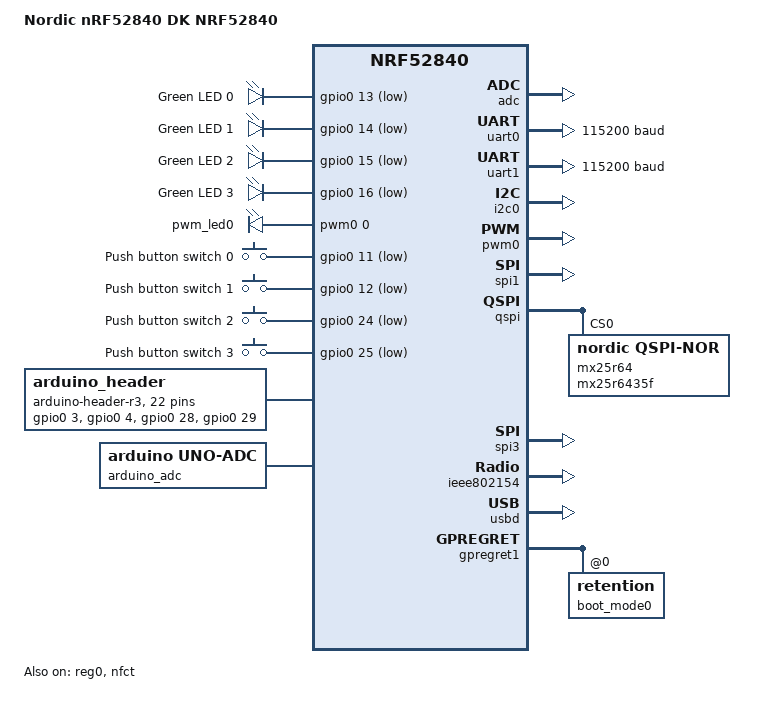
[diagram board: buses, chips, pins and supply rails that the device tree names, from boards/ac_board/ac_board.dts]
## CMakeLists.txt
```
cmake_minimum_required(VERSION 3.20.0)

find_package(Zephyr REQUIRED HINTS $ENV{ZEPHYR_BASE})
project(led_sensor_driver_lab)

target_include_directories(app PRIVATE
    ${CMAKE_CURRENT_SOURCE_DIR}/include
)

target_sources(app PRIVATE
    src/main.cpp
    drivers/sensor/led_sensor/led_sensor.c
)
```

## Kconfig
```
mainmenu "LED Lab"

menuconfig LED_SUBSYSTEM
	bool "LED Subsystem"
	default y
	help
	  Enable LED subsystem.

if LED_SUBSYSTEM

choice LED_BLINK_SLEEP_TIME
	prompt "LED blink sleep time"
	default LED_BLINK_SLEEP_1S

config LED_BLINK_SLEEP_250MS
	bool "250ms"

config LED_BLINK_SLEEP_500MS
	bool "500ms"

config LED_BLINK_SLEEP_1S
	bool "1s (medium)"

config LED_BLINK_SLEEP_2S
	bool "2s"

endchoice

config LED_BLINK_SLEEP_TIME_MS
	int
	default 250 if LED_BLINK_SLEEP_250MS
	default 500 if LED_BLINK_SLEEP_500MS
	default 1000 if LED_BLINK_SLEEP_1S
	default 2000 if LED_BLINK_SLEEP_2S

menuconfig ADVANCED_LED_SETTINGS
	bool "Advanced LED settings"
	default n

if ADVANCED_LED_SETTINGS

config LED_BRIGHTNESS
	int "LED brightness (0-100)"
	range 0 100
	default 100

config LED_FADE_DURATION_MS
	int "LED fade duration (ms)"
	range 0 5000
	default 500

menu "Expert settings"
	visible if ADVANCED_LED_SETTINGS

config LED_DEBUGGING
	bool "Enable LED debugging"
	default n

config CUSTOM_BLINK_PATTERN
	bool "Custom blink pattern"
	default n

endmenu

endif # ADVANCED_LED_SETTINGS

endif # LED_SUBSYSTEM

menu "Application Configuration"

config APP_HEARTBEAT_PERIOD_MS
	int "Heartbeat period in milliseconds"
	default 500
	range 100 2000
	help
	  Blink period for heartbeat LED.

endmenu

menu "Custom drivers"

rsource "drivers/sensor/led_sensor/Kconfig"

endmenu

source "Kconfig.zephyr"
```

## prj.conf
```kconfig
CONFIG_GPIO=y
CONFIG_LOG=y
CONFIG_SENSOR=y
CONFIG_LED_SENSOR=y

CONFIG_LED_SUBSYSTEM=y
CONFIG_LED_BLINK_SLEEP_250MS=y

CONFIG_SHELL=y
CONFIG_SHELL_BACKEND_SERIAL=y
```

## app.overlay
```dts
/ {
	led_sensor0: led_sensor_0 {
		compatible = "our,led-sensor";
		status = "okay";
		gpios = <&gpio0 13 GPIO_ACTIVE_LOW>;
	};
};
```

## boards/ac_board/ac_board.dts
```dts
/dts-v1/;
#include <nordic/nrf52840_qiaa.dtsi>
#include <nordic/nrf52840_partition.dtsi>
#include "nrf52840dk_nrf52840-pinctrl.dtsi"
#include <zephyr/dt-bindings/gpio/arduino-header-r3.h>
#include <zephyr/dt-bindings/input/input-event-codes.h>

/ {
	model = "Nordic nRF52840 DK NRF52840";
	compatible = "ac,ac_board";

	chosen {
		zephyr,console = &uart0;
		zephyr,shell-uart = &uart0;
		zephyr,uart-mcumgr = &uart0;
		zephyr,bt-mon-uart = &uart0;
		zephyr,bt-c2h-uart = &uart0;
		zephyr,ieee802154 = &ieee802154;
		zephyr,boot-mode = &boot_mode0;
	};

	leds {
		compatible = "gpio-leds";

		led0: led_0 {
			gpios = <&gpio0 13 GPIO_ACTIVE_LOW>;
			label = "Green LED 0";
		};

		led1: led_1 {
			gpios = <&gpio0 14 GPIO_ACTIVE_LOW>;
			label = "Green LED 1";
		};

		led2: led_2 {
			gpios = <&gpio0 15 GPIO_ACTIVE_LOW>;
			label = "Green LED 2";
		};

		led3: led_3 {
			gpios = <&gpio0 16 GPIO_ACTIVE_LOW>;
			label = "Green LED 3";
		};
	};

	pwmleds {
		compatible = "pwm-leds";

		pwm_led0: pwm_led_0 {
			pwms = <&pwm0 0 PWM_MSEC(20) PWM_POLARITY_INVERTED>;
		};
	};

	buttons {
		compatible = "gpio-keys";

		button0: button_0 {
			gpios = <&gpio0 11 (GPIO_PULL_UP | GPIO_ACTIVE_LOW)>;
			label = "Push button switch 0";
			zephyr,code = <INPUT_KEY_0>;
		};

		button1: button_1 {
			gpios = <&gpio0 12 (GPIO_PULL_UP | GPIO_ACTIVE_LOW)>;
			label = "Push button switch 1";
			zephyr,code = <INPUT_KEY_1>;
		};

		button2: button_2 {
			gpios = <&gpio0 24 (GPIO_PULL_UP | GPIO_ACTIVE_LOW)>;
			label = "Push button switch 2";
			zephyr,code = <INPUT_KEY_2>;
		};

		button3: button_3 {
			gpios = <&gpio0 25 (GPIO_PULL_UP | GPIO_ACTIVE_LOW)>;
			label = "Push button switch 3";
			zephyr,code = <INPUT_KEY_3>;
		};
	};

	arduino_header: connector {
		compatible = "arduino-header-r3";
		#gpio-cells = <2>;
		gpio-map-mask = <0xffffffff 0xffffffc0>;
		gpio-map-pass-thru = <0 0x3f>;
		gpio-map = <ARDUINO_HEADER_R3_A0 0 &gpio0 3 0>,
			   <ARDUINO_HEADER_R3_A1 0 &gpio0 4 0>,
			   <ARDUINO_HEADER_R3_A2 0 &gpio0 28 0>,
			   <ARDUINO_HEADER_R3_A3 0 &gpio0 29 0>,
			   <ARDUINO_HEADER_R3_A4 0 &gpio0 30 0>,
			   <ARDUINO_HEADER_R3_A5 0 &gpio0 31 0>,
			   <ARDUINO_HEADER_R3_D0 0 &gpio1 1 0>,
			   <ARDUINO_HEADER_R3_D1 0 &gpio1 2 0>,
			   <ARDUINO_HEADER_R3_D2 0 &gpio1 3 0>,
			   <ARDUINO_HEADER_R3_D3 0 &gpio1 4 0>,
			   <ARDUINO_HEADER_R3_D4 0 &gpio1 5 0>,
			   <ARDUINO_HEADER_R3_D5 0 &gpio1 6 0>,
			   <ARDUINO_HEADER_R3_D6 0 &gpio1 7 0>,
			   <ARDUINO_HEADER_R3_D7 0 &gpio1 8 0>,
			   <ARDUINO_HEADER_R3_D8 0 &gpio1 10 0>,
			   <ARDUINO_HEADER_R3_D9 0 &gpio1 11 0>,
			   <ARDUINO_HEADER_R3_D10 0 &gpio1 12 0>,
			   <ARDUINO_HEADER_R3_D11 0 &gpio1 13 0>,
			   <ARDUINO_HEADER_R3_D12 0 &gpio1 14 0>,
			   <ARDUINO_HEADER_R3_D13 0 &gpio1 15 0>,
			   <ARDUINO_HEADER_R3_D14 0 &gpio0 26 0>,
			   <ARDUINO_HEADER_R3_D15 0 &gpio0 27 0>;
	};

	arduino_adc: analog-connector {
		compatible = "arduino,uno-adc";
		#io-channel-cells = <1>;
		io-channel-map = <0 &adc 1>,	/* A0 = P0.3 = AIN1 */
				 <1 &adc 2>,	/* A1 = P0.4 = AIN2 */
				 <2 &adc 4>,	/* A2 = P0.28 = AIN4 */
				 <3 &adc 5>,	/* A3 = P0.29 = AIN5 */
				 <4 &adc 6>,	/* A4 = P0.30 = AIN6 */
				 <5 &adc 7>;	/* A5 = P0.31 = AIN7 */
	};

	/* These aliases are provided for compatibility with samples */
	aliases {
		led0 = &led0;
		led1 = &led1;
		led2 = &led2;
		led3 = &led3;
		pwm-led0 = &pwm_led0;
		sw0 = &button0;
		sw1 = &button1;
		sw2 = &button2;
		sw3 = &button3;
		mcuboot-button0 = &button0;
		mcuboot-led0 = &led0;
		watchdog0 = &wdt0;
	};
};

&reg0 {
	status = "okay";
};

&reg1 {
	regulator-initial-mode = <NRF5X_REG_MODE_DCDC>;
};

&adc {
	status = "okay";
};

&uicr {
	gpio-as-nreset;
};

&gpiote {
	status = "okay";
};

&nfct {
	status = "okay";
};

&gpio0 {
	status = "okay";
	gpio-reserved-ranges = <0 2>, <6 1>, <8 3>, <17 7>;
	gpio-line-names = "XL1", "XL2", "AREF", "A0", "A1", "RTS", "TXD",
			  "CTS", "RXD", "NFC1", "NFC2", "BUTTON1", "BUTTON2", "LED1",
			  "LED2", "LED3", "LED4", "QSPI CS", "RESET", "QSPI CLK",
			  "QSPI DIO0", "QSPI DIO1", "QSPI DIO2", "QSPI DIO3", "BUTTON3",
			  "BUTTON4", "SDA", "SCL", "A2", "A3", "A4", "A5";
};

&gpio1 {
	status = "okay";
	gpio-line-names = "", "D0", "D1", "D2", "D3", "D4", "D5", "D6",
			  "D7", "", "D8", "D9", "D10", "D11", "D12", "D13";
};

&uart0 {
	compatible = "nordic,nrf-uarte";
	status = "okay";
	current-speed = <115200>;
	pinctrl-0 = <&uart0_default>;
	pinctrl-1 = <&uart0_sleep>;
	pinctrl-names = "default", "sleep";
};

arduino_serial: &uart1 {
	current-speed = <115200>;
	pinctrl-0 = <&uart1_default>;
	pinctrl-1 = <&uart1_sleep>;
	pinctrl-names = "default", "sleep";
};

arduino_i2c: &i2c0 {
	compatible = "nordic,nrf-twi";
	status = "okay";
	pinctrl-0 = <&i2c0_default>;
	pinctrl-1 = <&i2c0_sleep>;
	pinctrl-names = "default", "sleep";
};

&i2c1 {
	compatible = "nordic,nrf-twi";
	/* Cannot be used together with spi1. */
	/* status = "okay"; */
	pinctrl-0 = <&i2c1_default>;
	pinctrl-1 = <&i2c1_sleep>;
	pinctrl-names = "default", "sleep";
};

&pwm0 {
	status = "okay";
	pinctrl-0 = <&pwm0_default>;
	pinctrl-1 = <&pwm0_sleep>;
	pinctrl-names = "default", "sleep";
};

&spi0 {
	compatible = "nordic,nrf-spi";
	/* Cannot be used together with i2c0. */
	/* status = "okay"; */
	pinctrl-0 = <&spi0_default>;
	pinctrl-1 = <&spi0_sleep>;
	pinctrl-names = "default", "sleep";
};

&spi1 {
	compatible = "nordic,nrf-spi";
	status = "okay";
	pinctrl-0 = <&spi1_default>;
	pinctrl-1 = <&spi1_sleep>;
	pinctrl-names = "default", "sleep";
};

&spi2 {
	compatible = "nordic,nrf-spi";
	status = "disabled";
	pinctrl-0 = <&spi2_default>;
	pinctrl-1 = <&spi2_sleep>;
	pinctrl-names = "default", "sleep";
};

&qspi {
	status = "okay";
	pinctrl-0 = <&qspi_default>;
	pinctrl-1 = <&qspi_sleep>;
	pinctrl-names = "default", "sleep";

	mx25r64: mx25r6435f@0 {
		compatible = "nordic,qspi-nor";
		reg = <0>;
		/* MX25R64 supports only pp and pp4io */
		writeoc = "pp4io";
		/* MX25R64 supports all readoc options */
		readoc = "read4io";
		sck-frequency = <8000000>;
		jedec-id = [c2 28 17];
		sfdp-bfp = [e5 20 f1 ff ff ff ff 03 44 eb 08 6b 08 3b 04 bb
			    ee ff ff ff ff ff 00 ff ff ff 00 ff 0c 20 0f 52
			    10 d8 00 ff 23 72 f5 00 82 ed 04 cc 44 83 68 44
			    30 b0 30 b0 f7 c4 d5 5c 00 be 29 ff f0 d0 ff ff];
		size = <67108864>;
		has-dpd;
		t-enter-dpd = <10000>;
		t-exit-dpd = <35000>;
	};
};

arduino_spi: &spi3 {
	status = "okay";
	cs-gpios = <&arduino_header 16 GPIO_ACTIVE_LOW>; /* D10 */
	pinctrl-0 = <&spi3_default>;
	pinctrl-1 = <&spi3_sleep>;
	pinctrl-names = "default", "sleep";
};

&ieee802154 {
	status = "okay";
};

zephyr_udc0: &usbd {
	compatible = "nordic,nrf-usbd";
	status = "okay";
};

&gpregret1 {
	status = "okay";

	boot_mode0: boot_mode@0 {
		compatible = "zephyr,retention";
		status = "okay";
		reg = <0x0 0x1>;
	};
};
```

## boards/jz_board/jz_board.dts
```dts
/*
 * Copyright (c) 2017 Linaro Limited
 *
 * SPDX-License-Identifier: Apache-2.0
 */

/dts-v1/;
#include <nordic/nrf52840_qiaa.dtsi>
#include <nordic/nrf52840_partition.dtsi>
#include "nrf52840dk_nrf52840-pinctrl.dtsi"
#include <zephyr/dt-bindings/gpio/arduino-header-r3.h>
#include <zephyr/dt-bindings/input/input-event-codes.h>

/ {
	model = "Nordic nRF52840 DK NRF52840";
	compatible = "jz,jz_board";

	chosen {
		zephyr,console = &uart0;
		zephyr,shell-uart = &uart0;
		zephyr,uart-mcumgr = &uart0;
		zephyr,bt-mon-uart = &uart0;
		zephyr,bt-c2h-uart = &uart0;
		zephyr,ieee802154 = &ieee802154;
		zephyr,boot-mode = &boot_mode0;
	};

	leds {
		compatible = "gpio-leds";

		led0: led_0 {
			gpios = <&gpio0 13 GPIO_ACTIVE_LOW>;
			label = "Green LED 0";
		};

		led1: led_1 {
			gpios = <&gpio0 14 GPIO_ACTIVE_LOW>;
			label = "Green LED 1";
		};

		led2: led_2 {
			gpios = <&gpio0 15 GPIO_ACTIVE_LOW>;
			label = "Green LED 2";
		};

		led3: led_3 {
			gpios = <&gpio0 16 GPIO_ACTIVE_LOW>;
			label = "Green LED 3";
		};
	};

	pwmleds {
		compatible = "pwm-leds";

		pwm_led0: pwm_led_0 {
			pwms = <&pwm0 0 PWM_MSEC(20) PWM_POLARITY_INVERTED>;
		};
	};

	buttons {
		compatible = "gpio-keys";

		button0: button_0 {
			gpios = <&gpio0 11 (GPIO_PULL_UP | GPIO_ACTIVE_LOW)>;
			label = "Push button switch 0";
			zephyr,code = <INPUT_KEY_0>;
		};

		button1: button_1 {
			gpios = <&gpio0 12 (GPIO_PULL_UP | GPIO_ACTIVE_LOW)>;
			label = "Push button switch 1";
			zephyr,code = <INPUT_KEY_1>;
		};

		button2: button_2 {
			gpios = <&gpio0 24 (GPIO_PULL_UP | GPIO_ACTIVE_LOW)>;
			label = "Push button switch 2";
			zephyr,code = <INPUT_KEY_2>;
		};

		button3: button_3 {
			gpios = <&gpio0 25 (GPIO_PULL_UP | GPIO_ACTIVE_LOW)>;
			label = "Push button switch 3";
			zephyr,code = <INPUT_KEY_3>;
		};
	};

	arduino_header: connector {
		compatible = "arduino-header-r3";
		#gpio-cells = <2>;
		gpio-map-mask = <0xffffffff 0xffffffc0>;
		gpio-map-pass-thru = <0 0x3f>;
		gpio-map = <ARDUINO_HEADER_R3_A0 0 &gpio0 3 0>,
			   <ARDUINO_HEADER_R3_A1 0 &gpio0 4 0>,
			   <ARDUINO_HEADER_R3_A2 0 &gpio0 28 0>,
			   <ARDUINO_HEADER_R3_A3 0 &gpio0 29 0>,
			   <ARDUINO_HEADER_R3_A4 0 &gpio0 30 0>,
			   <ARDUINO_HEADER_R3_A5 0 &gpio0 31 0>,
			   <ARDUINO_HEADER_R3_D0 0 &gpio1 1 0>,
			   <ARDUINO_HEADER_R3_D1 0 &gpio1 2 0>,
			   <ARDUINO_HEADER_R3_D2 0 &gpio1 3 0>,
			   <ARDUINO_HEADER_R3_D3 0 &gpio1 4 0>,
			   <ARDUINO_HEADER_R3_D4 0 &gpio1 5 0>,
			   <ARDUINO_HEADER_R3_D5 0 &gpio1 6 0>,
			   <ARDUINO_HEADER_R3_D6 0 &gpio1 7 0>,
			   <ARDUINO_HEADER_R3_D7 0 &gpio1 8 0>,
			   <ARDUINO_HEADER_R3_D8 0 &gpio1 10 0>,
			   <ARDUINO_HEADER_R3_D9 0 &gpio1 11 0>,
			   <ARDUINO_HEADER_R3_D10 0 &gpio1 12 0>,
			   <ARDUINO_HEADER_R3_D11 0 &gpio1 13 0>,
			   <ARDUINO_HEADER_R3_D12 0 &gpio1 14 0>,
			   <ARDUINO_HEADER_R3_D13 0 &gpio1 15 0>,
			   <ARDUINO_HEADER_R3_D14 0 &gpio0 26 0>,
			   <ARDUINO_HEADER_R3_D15 0 &gpio0 27 0>;
	};

	arduino_adc: analog-connector {
		compatible = "arduino,uno-adc";
		#io-channel-cells = <1>;
		io-channel-map = <0 &adc 1>,	/* A0 = P0.3 = AIN1 */
				 <1 &adc 2>,	/* A1 = P0.4 = AIN2 */
				 <2 &adc 4>,	/* A2 = P0.28 = AIN4 */
				 <3 &adc 5>,	/* A3 = P0.29 = AIN5 */
				 <4 &adc 6>,	/* A4 = P0.30 = AIN6 */
				 <5 &adc 7>;	/* A5 = P0.31 = AIN7 */
	};

	/* These aliases are provided for compatibility with samples */
	aliases {
		led0 = &led0;
		led1 = &led1;
		led2 = &led2;
		led3 = &led3;
		pwm-led0 = &pwm_led0;
		sw0 = &button0;
		sw1 = &button1;
		sw2 = &button2;
		sw3 = &button3;
		mcuboot-button0 = &button0;
		mcuboot-led0 = &led0;
		watchdog0 = &wdt0;
	};
};

&reg0 {
	status = "okay";
};

&reg1 {
	regulator-initial-mode = <NRF5X_REG_MODE_DCDC>;
};

&adc {
	status = "okay";
};

&uicr {
	gpio-as-nreset;
};

&gpiote {
	status = "okay";
};

&nfct {
	status = "okay";
};

&gpio0 {
	status = "okay";
	gpio-reserved-ranges = <0 2>, <6 1>, <8 3>, <17 7>;
	gpio-line-names = "XL1", "XL2", "AREF", "A0", "A1", "RTS", "TXD",
			  "CTS", "RXD", "NFC1", "NFC2", "BUTTON1", "BUTTON2", "LED1",
			  "LED2", "LED3", "LED4", "QSPI CS", "RESET", "QSPI CLK",
			  "QSPI DIO0", "QSPI DIO1", "QSPI DIO2", "QSPI DIO3", "BUTTON3",
			  "BUTTON4", "SDA", "SCL", "A2", "A3", "A4", "A5";
};

&gpio1 {
	status = "okay";
	gpio-line-names = "", "D0", "D1", "D2", "D3", "D4", "D5", "D6",
			  "D7", "", "D8", "D9", "D10", "D11", "D12", "D13";
};

&uart0 {
	compatible = "nordic,nrf-uarte";
	status = "okay";
	current-speed = <115200>;
	pinctrl-0 = <&uart0_default>;
	pinctrl-1 = <&uart0_sleep>;
	pinctrl-names = "default", "sleep";
};

arduino_serial: &uart1 {
	current-speed = <115200>;
	pinctrl-0 = <&uart1_default>;
	pinctrl-1 = <&uart1_sleep>;
	pinctrl-names = "default", "sleep";
};

arduino_i2c: &i2c0 {
	compatible = "nordic,nrf-twi";
	status = "okay";
	pinctrl-0 = <&i2c0_default>;
	pinctrl-1 = <&i2c0_sleep>;
	pinctrl-names = "default", "sleep";
};

&i2c1 {
	compatible = "nordic,nrf-twi";
	/* Cannot be used together with spi1. */
	/* status = "okay"; */
	pinctrl-0 = <&i2c1_default>;
	pinctrl-1 = <&i2c1_sleep>;
	pinctrl-names = "default", "sleep";
};

&pwm0 {
	status = "okay";
	pinctrl-0 = <&pwm0_default>;
	pinctrl-1 = <&pwm0_sleep>;
	pinctrl-names = "default", "sleep";
};

&spi0 {
	compatible = "nordic,nrf-spi";
	/* Cannot be used together with i2c0. */
	/* status = "okay"; */
	pinctrl-0 = <&spi0_default>;
	pinctrl-1 = <&spi0_sleep>;
	pinctrl-names = "default", "sleep";
};

&spi1 {
	compatible = "nordic,nrf-spi";
	status = "okay";
	pinctrl-0 = <&spi1_default>;
	pinctrl-1 = <&spi1_sleep>;
	pinctrl-names = "default", "sleep";
};

&spi2 {
	compatible = "nordic,nrf-spi";
	status = "disabled";
	pinctrl-0 = <&spi2_default>;
	pinctrl-1 = <&spi2_sleep>;
	pinctrl-names = "default", "sleep";
};

&qspi {
	status = "okay";
	pinctrl-0 = <&qspi_default>;
	pinctrl-1 = <&qspi_sleep>;
	pinctrl-names = "default", "sleep";

	mx25r64: mx25r6435f@0 {
		compatible = "nordic,qspi-nor";
		reg = <0>;
		/* MX25R64 supports only pp and pp4io */
		writeoc = "pp4io";
		/* MX25R64 supports all readoc options */
		readoc = "read4io";
		sck-frequency = <8000000>;
		jedec-id = [c2 28 17];
		sfdp-bfp = [e5 20 f1 ff ff ff ff 03 44 eb 08 6b 08 3b 04 bb
			    ee ff ff ff ff ff 00 ff ff ff 00 ff 0c 20 0f 52
			    10 d8 00 ff 23 72 f5 00 82 ed 04 cc 44 83 68 44
			    30 b0 30 b0 f7 c4 d5 5c 00 be 29 ff f0 d0 ff ff];
		size = <67108864>;
		has-dpd;
		t-enter-dpd = <10000>;
		t-exit-dpd = <35000>;
	};
};

arduino_spi: &spi3 {
	status = "okay";
	cs-gpios = <&arduino_header 16 GPIO_ACTIVE_LOW>; /* D10 */
	pinctrl-0 = <&spi3_default>;
	pinctrl-1 = <&spi3_sleep>;
	pinctrl-names = "default", "sleep";
};

&ieee802154 {
	status = "okay";
};

zephyr_udc0: &usbd {
	compatible = "nordic,nrf-usbd";
	status = "okay";
};

&gpregret1 {
	status = "okay";

	boot_mode0: boot_mode@0 {
		compatible = "zephyr,retention";
		status = "okay";
		reg = <0x0 0x1>;
	};
};
```

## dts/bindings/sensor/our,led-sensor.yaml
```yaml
description: LEd sensor driver

compatible: "our,led-sensor"

include: base.yaml

properties:
  gpios:
    type: phandle-array
    required: true
    description: GPIO connected to the LED
```

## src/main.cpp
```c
#include <zephyr/kernel.h>
#include <zephyr/device.h>
#include <zephyr/drivers/sensor.h>
#include <zephyr/logging/log.h>
#include <zephyr/shell/shell.h>
#include <stdlib.h>

#include "led_sensor.h"

LOG_MODULE_REGISTER(main, LOG_LEVEL_INF);

#define LED_SENSOR_NODE DT_NODELABEL(led_sensor0)

static const struct device *get_led_sensor_dev(void)
{
	static const struct device *dev = DEVICE_DT_GET(LED_SENSOR_NODE);
	return dev;
}

static int cmd_sensor_set(const struct shell *shell,
			  size_t argc,
			  char **argv)
{
	const struct device *dev = get_led_sensor_dev();

	if (!device_is_ready(dev)) {
		shell_error(shell, "LED sensor device is not ready");
		return -ENODEV;
	}

	int value = atoi(argv[1]);

	if ((value != 0) && (value != 1)) {
		shell_error(shell, "Invalid value: %s. Use 0 or 1", argv[1]);
		return -EINVAL;
	}

	int ret = led_sensor_set_blink_enabled(dev, value == 1);
	if (ret < 0) {
		shell_error(shell, "led_sensor_set_blink_enabled failed: %d", ret);
		return ret;
	}

	shell_print(shell, "Blink enabled: %s", value ? "true" : "false");

	return 0;
}

SHELL_STATIC_SUBCMD_SET_CREATE(sensor_cmds,
	SHELL_CMD_ARG(set,
		      NULL,
		      "Enable/disable LED blinking: sensor set <0|1>",
		      cmd_sensor_set,
		      2,
		      0),
	SHELL_SUBCMD_SET_END
);

SHELL_CMD_REGISTER(sensor,
		   &sensor_cmds,
		   "LED sensor commands",
		   NULL);


int main(void)
{
	const struct device *led_sensor = get_led_sensor_dev();
	struct sensor_value val;

	if (!device_is_ready(led_sensor)) {
		LOG_ERR("LED sensor device is not ready");
		return 0;
	}

	LOG_INF("LED sensor device ready");

	int counter = 0;

	while (1) {
		sensor_sample_fetch(led_sensor);
		sensor_channel_get(led_sensor, SENSOR_CHAN_LED_STATE, &val);

		//LOG_INF("LED state: %d", val.val1);


		k_sleep(K_MSEC(CONFIG_LED_BLINK_SLEEP_TIME_MS));
}

	return 0;
}
```

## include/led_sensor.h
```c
#ifndef LED_SENSOR_H_
#define LED_SENSOR_H_

#include <zephyr/device.h>
#include <zephyr/drivers/sensor.h>
#include <stdbool.h>

#define SENSOR_CHAN_LED_STATE SENSOR_CHAN_PRIV_START

typedef int (*led_sensor_set_blink_enabled_t)(const struct device *dev,
					      bool enabled);

struct led_sensor_driver_api {
	struct sensor_driver_api sensor_api;
	led_sensor_set_blink_enabled_t set_blink_enabled;
};

static inline int led_sensor_set_blink_enabled(const struct device *dev,
					       bool enabled)
{
	const struct led_sensor_driver_api *api =
		(const struct led_sensor_driver_api *)dev->api;

	return api->set_blink_enabled(dev, enabled);
}

#endif /* LED_SENSOR_H_ */
```
